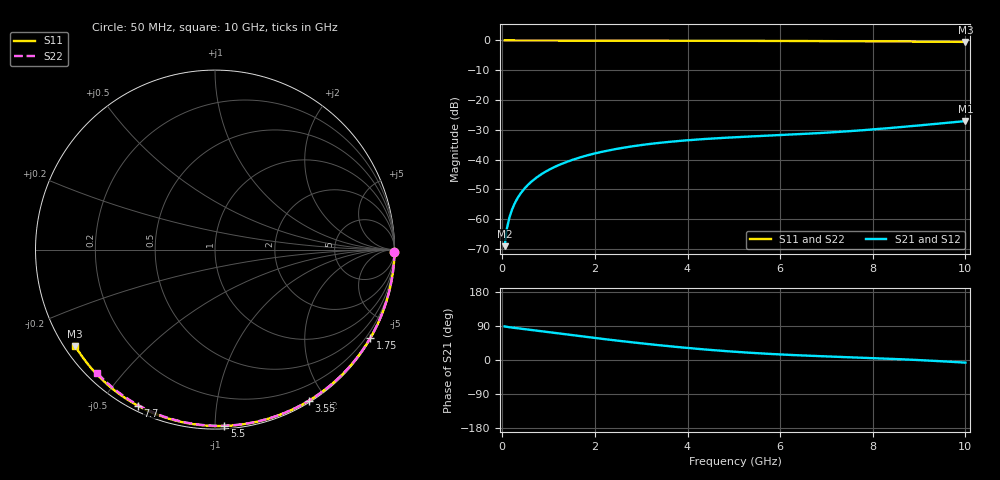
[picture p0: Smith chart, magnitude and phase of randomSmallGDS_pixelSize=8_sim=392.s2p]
! freq	dB(S11)	phase(S11)	dB(S12)	phase(S12)
!  dB(S21)	phase(S21)	dB(S22)	phase(S22)
!S-par simulation data
#  GHz  S  DB  R 50
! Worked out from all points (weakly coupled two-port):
!   200 points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, 50 MHz to 10 GHz, reference 50 ohm
!   highest |S21| = -27.09 dB at 10 GHz (marker M1); lowest = -69.1 dB at 50 MHz (marker M2)
!   lowest |S11| = -0.5 dB at 10 GHz (marker M3), VSWR 36.03, Z = 1.52 - j15.5 ohm
!   |S11| at or under -10 dB: nowhere
!   |S22| runs from -0.4 to 0.0 dB; largest |S21 - S12| = 0
!   S11 on the Smith chart (normalised r, x): 50 MHz: open; 1.75 GHz: 0.03, -3.79; 3.55 GHz: 0.02, -1.79; 5.5 GHz: 0.02, -1.05; 7.7 GHz: 0.02, -0.62; 10 GHz: 0.03, -0.31
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0.05  -0.00 -0.9  -69.10 88.6  -69.10 88.6  -0.00 -0.8
0.1  -0.00 -1.7  -63.14 87.4  -63.14 87.4  -0.00 -1.6
0.15  -0.00 -2.6  -59.68 86.5  -59.68 86.5  -0.00 -2.4
0.2  -0.00 -3.4  -57.23 85.8  -57.23 85.8  -0.00 -3.2
0.25  -0.00 -4.3  -55.33 85.0  -55.33 85.0  -0.00 -3.9
0.35  -0.00 -6.0  -52.45 83.6  -52.45 83.6  -0.00 -5.5
0.5  -0.01 -8.6  -49.39 81.3  -49.39 81.3  -0.01 -7.9
0.7  -0.01 -12.0  -46.52 78.2  -46.52 78.2  -0.01 -11.0
1  -0.02 -17.0  -43.50 73.5  -43.50 73.5  -0.02 -15.6
1.35  -0.03 -22.9  -41.03 68.1  -41.03 68.1  -0.03 -21.0
1.75  -0.04 -29.5  -38.96 61.9  -38.96 61.9  -0.03 -27.1
2.5  -0.05 -41.8  -36.33 50.9  -36.33 50.9  -0.05 -38.3
3.4  -0.08 -56.0  -34.39 38.9  -34.39 38.9  -0.07 -51.4
3.55  -0.08 -58.3  -34.14 37.0  -34.14 37.0  -0.07 -53.6
4.3  -0.10 -69.6  -33.18 28.6  -33.18 28.6  -0.09 -64.1
5.05  -0.12 -80.6  -32.49 21.5  -32.49 21.5  -0.11 -74.2
5.5  -0.14 -86.9  -32.15 18.0  -32.15 18.0  -0.13 -80.1
6.7  -0.20 -103.3  -31.24 10.9  -31.24 10.9  -0.18 -95.3
7.7  -0.26 -116.4  -30.24 6.4  -30.24 6.4  -0.24 -107.3
8.35  -0.32 -124.7  -29.44 3.4  -29.44 3.4  -0.29 -115.0
9.2  -0.39 -135.4  -28.26 -1.5  -28.26 -1.5  -0.36 -124.7
10  -0.48 -145.4  -27.09 -6.9  -27.09 -6.9  -0.44 -133.7
